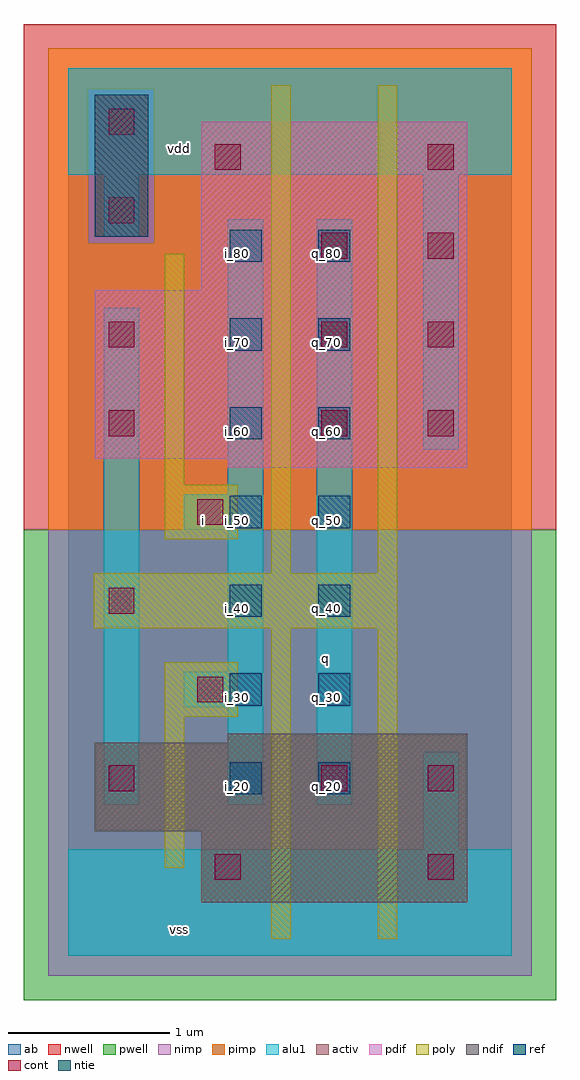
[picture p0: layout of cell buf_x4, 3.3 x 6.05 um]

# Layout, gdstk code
import gdstk
lib = gdstk.Library(unit=1e-6, precision=2.5e-09)
def R(c, l, rs):  # rectangles x0, y0, x1, y1
    for r in rs: c.add(gdstk.rectangle(r[:2], r[2:], *l))
def A(c, l, x, y, w, h, nx, ny, dx, dy):  # array of equal rectangles
    R(c, l, [(x+i*dx, y+j*dy, x+i*dx+w, y+j*dy+h) for i in range(nx) for j in range(ny)])
ndif = (3, 0)
pdif = (4, 0)
ntie = (5, 0)
ref = (24, 0)
cont = (25, 0)
pwell = (41, 0)
nwell = (42, 0)
activ = (43, 0)
pimp = (44, 0)
nimp = (45, 0)
poly = (46, 0)
alu1 = (49, 0)
ab = (63, 0)

buf_x4 = lib.new_cell('buf_x4')
R(buf_x4, ndif, [(0.825,0.33,2.475,0.77), (0.165,0.77,2.475,1.32), (0.99,1.32,2.475,1.375)])
R(buf_x4, pdif, [(0.99,3.025,2.475,3.08), (0.165,3.08,2.475,4.125), (0.825,4.125,2.475,5.17)])
R(buf_x4, ntie, [(0.165,4.455,0.495,5.335)])
A(buf_x4, ref, 1, 1, 0.2, 0.2, 1, 7, 0, 0.55)
A(buf_x4, ref, 1.55, 1, 0.2, 0.2, 1, 7, 0, 0.55)
A(buf_x4, cont, 0.25, 1.02, 0.16, 0.16, 1, 3, 0, 1.1)
A(buf_x4, cont, 1.57, 3.22, 0.16, 0.16, 1, 3, 0, 0.55)
A(buf_x4, cont, 2.23, 3.22, 0.16, 0.16, 1, 4, 0, 0.55)
R(buf_x4, cont, [(0.91,0.47,1.07,0.63), (2.23,0.47,2.39,0.63), (1.57,1.02,1.73,1.18), (2.23,1.02,2.39,1.18), (0.8,1.57,0.96,1.73), (0.8,2.67,0.96,2.83), (0.25,3.77,0.41,3.93), (0.25,4.54,0.41,4.7), (0.91,4.87,1.07,5.03), (0.25,5.09,0.41,5.25)])
R(buf_x4, pwell, [(-0.275,-0.275,3.025,2.64)])
R(buf_x4, nwell, [(-0.275,2.64,3.025,5.775)])
R(buf_x4, activ, [(0.825,0.33,2.475,0.77), (0.165,0.77,2.475,1.32), (0.99,1.32,2.475,1.375), (0.99,3.025,2.475,3.08), (0.165,3.08,2.475,4.125), (0.825,4.125,2.475,5.17), (0.165,4.455,0.495,5.335)])
R(buf_x4, pimp, [(-0.125,2.64,2.875,4.415), (-0.125,4.415,0.125,5.375), (0.535,4.415,2.875,5.375), (-0.125,5.375,2.875,5.625)])
R(buf_x4, nimp, [(-0.125,-0.125,2.875,2.64), (0.125,4.415,0.535,5.375)])
R(buf_x4, poly, [(1.26,0.105,1.38,2.03), (1.92,0.105,2.04,2.03), (0.6,0.545,0.72,1.48), (0.6,1.48,1.05,1.82), (0.16,2.03,2.04,2.37), (1.26,2.37,1.38,5.395), (1.92,2.37,2.04,5.395), (0.6,2.58,1.05,2.92), (0.6,2.92,0.72,4.35)])
R(buf_x4, alu1, [(0,0,2.75,0.66), (2.2,0.66,2.42,1.265), (0.22,0.935,0.44,4.015), (0.99,0.935,1.21,1.54), (1.54,0.935,1.76,4.565), (0.715,1.54,1.21,1.76), (0.99,1.76,1.21,2.64), (0.715,2.64,1.21,2.86), (0.99,2.86,1.21,4.565), (2.2,3.135,2.42,4.84), (0.22,4.455,0.44,4.84), (0,4.84,2.75,5.5)])
R(buf_x4, ab, [(0,0,2.75,5.5)])
buf_x4.add(gdstk.Label('vss', (0.6875,0.165), layer=49, texttype=0))
buf_x4.add(gdstk.Label('q', (1.595,1.8425), layer=49, texttype=0))
buf_x4.add(gdstk.Label('i', (0.8375,2.695), layer=49, texttype=0))
buf_x4.add(gdstk.Label('vdd', (0.6875,5.005), layer=49, texttype=0))
buf_x4.add(gdstk.Label('i_20', (1.05,1.05), layer=24, texttype=0))
buf_x4.add(gdstk.Label('i_30', (1.05,1.6), layer=24, texttype=0))
buf_x4.add(gdstk.Label('q_20', (1.6,1.05), layer=24, texttype=0))
buf_x4.add(gdstk.Label('q_50', (1.6,2.7), layer=24, texttype=0))
buf_x4.add(gdstk.Label('q_30', (1.6,1.6), layer=24, texttype=0))
buf_x4.add(gdstk.Label('q_80', (1.6,4.35), layer=24, texttype=0))
buf_x4.add(gdstk.Label('q_70', (1.6,3.8), layer=24, texttype=0))
buf_x4.add(gdstk.Label('q_60', (1.6,3.25), layer=24, texttype=0))
buf_x4.add(gdstk.Label('q_40', (1.6,2.15), layer=24, texttype=0))
buf_x4.add(gdstk.Label('i_80', (1.05,4.35), layer=24, texttype=0))
buf_x4.add(gdstk.Label('i_70', (1.05,3.8), layer=24, texttype=0))
buf_x4.add(gdstk.Label('i_60', (1.05,3.25), layer=24, texttype=0))
buf_x4.add(gdstk.Label('i_50', (1.05,2.7), layer=24, texttype=0))
buf_x4.add(gdstk.Label('i_40', (1.05,2.15), layer=24, texttype=0))

lib.write_gds('buf_x4.gds')
